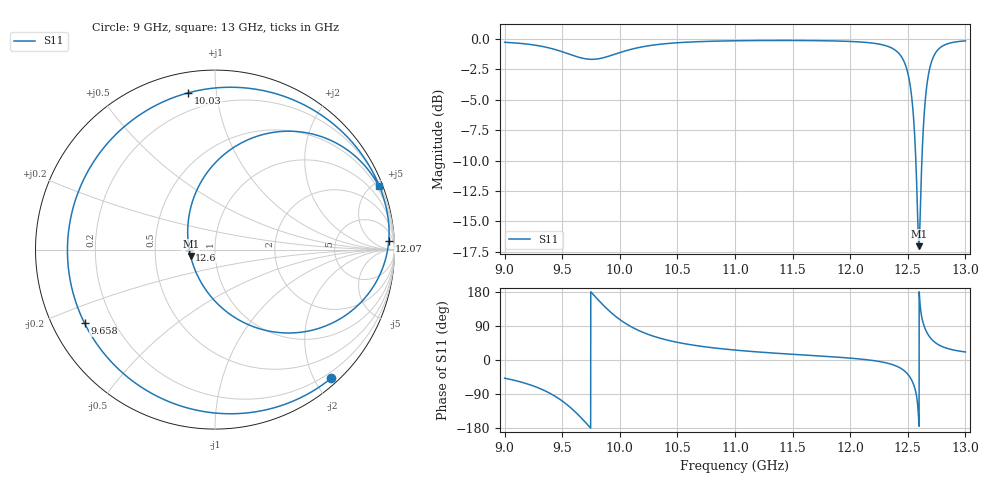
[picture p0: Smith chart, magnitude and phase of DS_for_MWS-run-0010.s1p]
! TOUCHSTONE file generated by CST DESIGN STUDIO
! Date and time: Tue Feb  4 16:38:48 2025
! Project name: C:\Work\MatlabApps\UnitCellOptimizationMatlab\CST\unitcell.cst
! Tree item: Tasks\Sweep1\SPara1\S-Parameters
! Header version: 2024
! Port assignment regex: !\s*Touchstone port\s*([0-9]+)\s*=\s*(CST MWS port|CST DES external port|CST DES block port)\s*(.+)\s* \(\"(.*)\"\)(\s*mode\s*([0-9]+))?.*
! Touchstone port assignment:
! Touchstone port 1 = CST DES external port 1 ("")
# GHz S MA R 50
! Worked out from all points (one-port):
!   4001 points, 9 GHz to 13 GHz, reference 50 ohm
!   lowest |S11| = -17.0 dB at 12.6 GHz (marker M1), VSWR 1.33, Z = 38 - j2.95 ohm
!   |S11| at or under -10 dB: 12.5698 GHz to 12.62216 GHz (52.35 MHz wide, 0.416 % of centre)
!   S11 on the Smith chart (normalised r, x): 9 GHz: 0.11, -2.25; 9.658 GHz: 0.10, -0.26; 10.03 GHz: 0.10, +0.84; 12.07 GHz: 17, +29; 12.6 GHz: 0.75, +0.00; 13 GHz: 0.32, +5.33
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9  0.9655 -47.9
9.267  0.9394 -70.5
9.5  0.8833 -108.1
9.579  0.8576 -127.4
9.658  0.8347 -150.5
9.732  0.8229 -174.6
9.804  0.825 161.3
9.903  0.8466 131.0
10  0.8762 106.7
10.033  0.886 99.8
10.246  0.9339 67.6
10.5  0.9616 46.6
11  0.9796 26.2
11.5  0.9823 15.0
12  0.9734 4.9
12.074  0.9694 2.9
12.373  0.908 -12.8
12.447  0.8395 -23.4
12.5  0.7227 -37.6
12.552  0.459 -65.9
12.596  0.1409 -164.3
12.599  0.1437 179.9
12.62  0.2964 115.0
12.645  0.511 86.8
12.688  0.7465 61.7
12.736  0.8663 46.5
12.796  0.9288 35.8
13  0.9787 21.2
